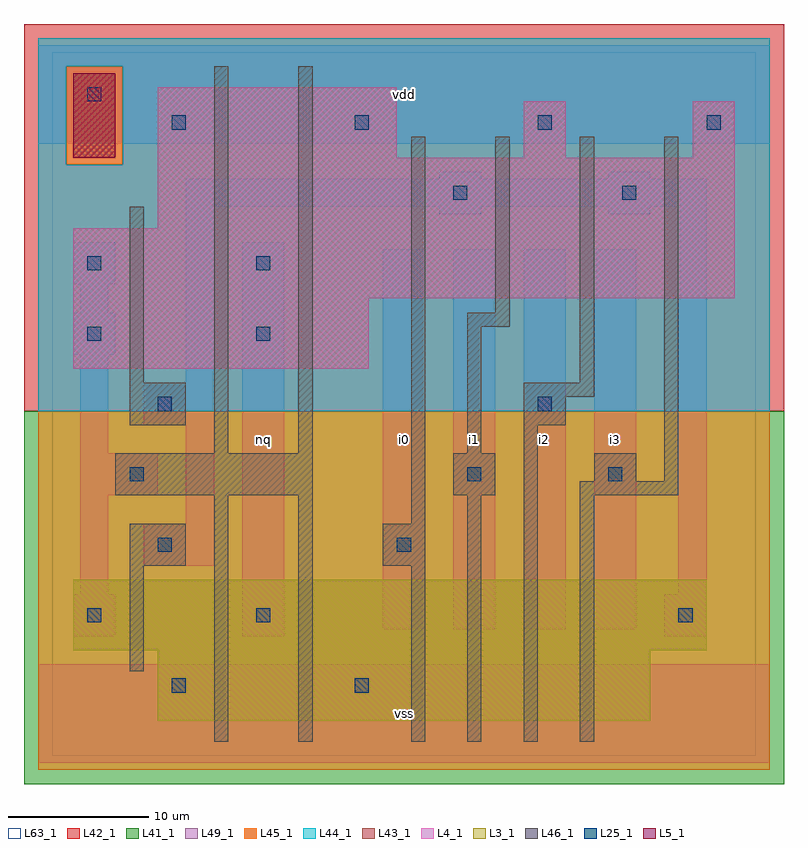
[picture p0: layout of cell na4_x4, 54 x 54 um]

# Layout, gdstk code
import gdstk
lib = gdstk.Library(unit=1e-6, precision=1e-09)
def R(c, l, rs):  # rectangles x0, y0, x1, y1
    for r in rs: c.add(gdstk.rectangle(r[:2], r[2:], *l))
def A(c, l, x, y, w, h, nx, ny, dx, dy):  # array of equal rectangles
    R(c, l, [(x+i*dx, y+j*dy, x+i*dx+w, y+j*dy+h) for i in range(nx) for j in range(ny)])
L3_1 = (3, 1)
L4_1 = (4, 1)
L5_1 = (5, 1)
L25_1 = (25, 1)
L41_1 = (41, 1)
L42_1 = (42, 1)
L43_1 = (43, 1)
L44_1 = (44, 1)
L45_1 = (45, 1)
L46_1 = (46, 1)
L49_1 = (49, 1)
L63_1 = (63, 1)

na4_x4 = lib.new_cell('na4_x4')
R(na4_x4, L3_1, [(7.5,2.5,42.5,7.5), (1.5,7.5,46.5,12.5)])
R(na4_x4, L4_1, [(1.5,27.5,22.5,32.5), (1.5,32.5,48.5,37.5), (7.5,37.5,48.5,42.5), (7.5,42.5,24.5,47.5), (33.5,42.5,36.5,46.5), (45.5,42.5,48.5,46.5)])
R(na4_x4, L5_1, [(1.5,42.5,4.5,48.5)])
A(na4_x4, L25_1, 8.5, 44.5, 1, 1, 3, 1, 13, 0)
R(na4_x4, L25_1, [(8.5,4.5,9.5,5.5), (21.5,4.5,22.5,5.5), (2.5,9.5,3.5,10.5), (14.5,9.5,15.5,10.5), (44.5,9.5,45.5,10.5), (7.5,14.5,8.5,15.5), (24.5,14.5,25.5,15.5), (5.5,19.5,6.5,20.5), (29.5,19.5,30.5,20.5), (39.5,19.5,40.5,20.5), (7.5,24.5,8.5,25.5), (34.5,24.5,35.5,25.5), (2.5,29.5,3.5,30.5), (14.5,29.5,15.5,30.5), (2.5,34.5,3.5,35.5), (14.5,34.5,15.5,35.5), (28.5,39.5,29.5,40.5), (40.5,39.5,41.5,40.5), (46.5,44.5,47.5,45.5), (2.5,46.5,3.5,47.5)])
R(na4_x4, L41_1, [(-2,-2,52,24.5)])
R(na4_x4, L42_1, [(-2,24.5,52,52)])
R(na4_x4, L43_1, [(7.5,2.5,42.5,7.5), (1.5,7.5,46.5,12.5), (1.5,27.5,22.5,32.5), (1.5,32.5,48.5,37.5), (7.5,37.5,48.5,42.5), (1.5,42.5,4.5,48.5), (7.5,42.5,24.5,47.5), (33.5,42.5,36.5,46.5), (45.5,42.5,48.5,46.5)])
R(na4_x4, L44_1, [(-1,24.5,51,42), (-1,42,1,49), (5,42,51,49), (-1,49,51,51)])
R(na4_x4, L45_1, [(-1,-1,51,24.5), (1,42,5,49)])
R(na4_x4, L46_1, [(11.5,1,12.5,18.5), (17.5,1,18.5,18.5), (25.5,1,26.5,13.5), (29.5,1,30.5,18.5), (33.5,1,34.5,23.5), (37.5,1,38.5,18.5), (5.5,6,6.5,13.5), (5.5,13.5,9.5,16.5), (23.5,13.5,26.5,16.5), (25.5,16.5,26.5,44), (4.5,18.5,18.5,21.5), (28.5,18.5,31.5,21.5), (37.5,18.5,44.5,19.5), (38.5,19.5,41.5,21.5), (43.5,19.5,44.5,44), (11.5,21.5,12.5,49), (17.5,21.5,18.5,49), (29.5,21.5,30.5,30.5), (5.5,23.5,9.5,26.5), (33.5,23.5,36.5,25.5), (33.5,25.5,38.5,26.5), (5.5,26.5,6.5,39), (37.5,26.5,38.5,44), (29.5,30.5,32.5,31.5), (31.5,31.5,32.5,44)])
A(na4_x4, L49_1, 23.5, 9, 3, 27, 4, 1, 5, 0)
R(na4_x4, L49_1, [(-1,-0.5,51,6.5), (1.5,8.5,4.5,11.5), (13.5,8.5,16.5,36.5), (43.5,8.5,46.5,11.5), (2,11.5,4,18.5), (44.5,11.5,46.5,39), (6.5,13.5,11.5,16.5), (9.5,16.5,11.5,23.5), (2,18.5,7.5,21.5), (2,21.5,4,28.5), (6.5,23.5,11.5,26.5), (9.5,26.5,11.5,39), (1.5,28.5,4.5,31.5), (2,31.5,4,33.5), (1.5,33.5,4.5,36.5), (27.5,38.5,30.5,39), (39.5,38.5,42.5,39), (9.5,39,46.5,41), (27.5,41,30.5,41.5), (39.5,41,42.5,41.5), (-1,43.5,51,50.5)])
R(na4_x4, L63_1, [(0,0,50,50)])
na4_x4.add(gdstk.Label('nq', (15,22.5), layer=49, texttype=1))
na4_x4.add(gdstk.Label('nq', (15,22.5), layer=49, texttype=1))
na4_x4.add(gdstk.Label('vss', (25,3), layer=49, texttype=1))
na4_x4.add(gdstk.Label('vss', (25,3), layer=49, texttype=1))
na4_x4.add(gdstk.Label('i0', (25,22.5), layer=49, texttype=1))
na4_x4.add(gdstk.Label('i0', (25,22.5), layer=49, texttype=1))
na4_x4.add(gdstk.Label('i2', (35,22.5), layer=49, texttype=1))
na4_x4.add(gdstk.Label('i1', (30,22.5), layer=49, texttype=1))
na4_x4.add(gdstk.Label('i2', (35,22.5), layer=49, texttype=1))
na4_x4.add(gdstk.Label('i1', (30,22.5), layer=49, texttype=1))
na4_x4.add(gdstk.Label('vdd', (25,47), layer=49, texttype=1))
na4_x4.add(gdstk.Label('vdd', (25,47), layer=49, texttype=1))
na4_x4.add(gdstk.Label('i3', (40,22.5), layer=49, texttype=1))
na4_x4.add(gdstk.Label('i3', (40,22.5), layer=49, texttype=1))

lib.write_gds('na4_x4.gds')
